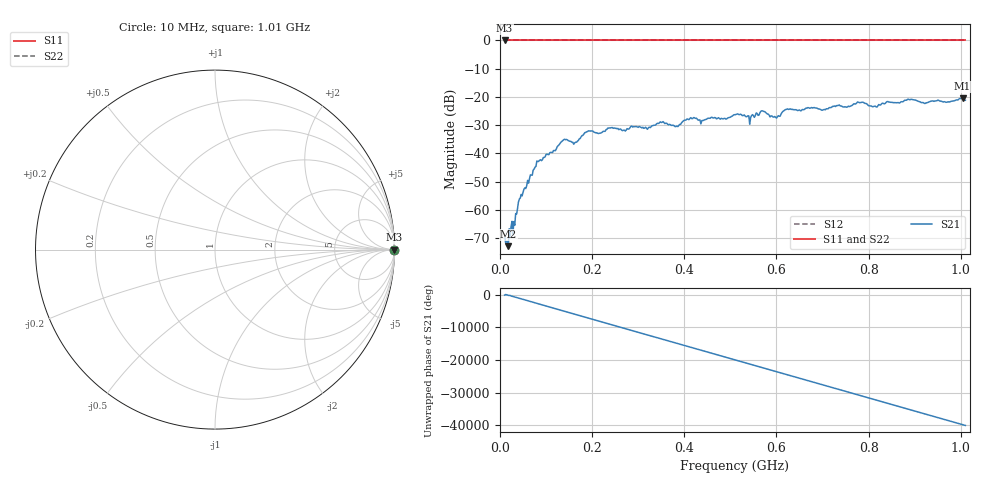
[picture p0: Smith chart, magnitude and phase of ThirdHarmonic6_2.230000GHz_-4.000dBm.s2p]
! 8/17/2025 2:31:47 AM
! C:\ANRITSUVNA\TEMP\TEMP.S2P
! CHANNEL.1
! TR.MEASUREMENT
! RAW.DATA
! RF.CORRECTION.OFF
! AVERAGING.OFF
! IF.BANDWIDTH: 5KHZ
! SWEEPTYPE:  FREQ.SWEEP(Linear)
! Reference Plane Port Info
! PORT:  PORT1  PORT2
! DISTANCE:  0  m  0  m
! TIME:  0  s  0  s
! PHASE.OFFSET:  0  deg.  0  deg.
! LOSS:  0  dB  0  dB
! REF.LOSS:  0  dB  0  dB
! REF.FREQ:  0  Hz  0  Hz
! Power Info
! POWER:  -20  dBm  -20  dBm
! EFF.POWER:  -20  dBm  -20  dBm
! SOURCE.ATTEN:  0  dB  0  dB
! TEST.ATTEN:  0  dB  0  dB
# GHZ S RI R 50.0
! FREQ.GHZ  S11RE  S11IM  S21RE  S21IM  S12RE  S12IM  S22RE  S22IM
!; PortSelection: Port_12
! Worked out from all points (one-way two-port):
!   501 points, 10 MHz to 1.01 GHz, reference 50 ohm
!   highest |S21| = -20.54 dB at 1.004 GHz (marker M1); lowest = -72.9 dB at 18 MHz (marker M2)
!   lowest |S11| = 0.0 dB at 10 MHz (marker M3)
!   |S11| at or under -10 dB: nowhere
!   |S22| runs from 0.0 to 0.0 dB; largest |S21 - S12| = 1.1
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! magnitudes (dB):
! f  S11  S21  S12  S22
! 10 MHz  0.0  -68.7  0.0  0.0
! 18 MHz  0.0  -72.9  0.0  0.0
! 32 MHz  0.0  -65.5  0.0  0.0
! 44 MHz  0.0  -55.8  0.0  0.0
! 84 MHz  0.0  -42.8  0.0  0.0
! 136 MHz  0.0  -35.5  0.0  0.0
! 164 MHz  0.0  -36.1  0.0  0.0
! 178 MHz  0.0  -33.7  0.0  0.0
! 194 MHz  0.0  -32.0  0.0  0.0
! 322 MHz  0.0  -30.9  0.0  0.0
! 344 MHz  0.0  -29.4  0.0  0.0
! 384 MHz  0.0  -30.3  0.0  0.0
! 416 MHz  0.0  -27.7  0.0  0.0
! 510 MHz  0.0  -26.3  0.0  0.0
! 540 MHz  0.0  -26.7  0.0  0.0
! 570 MHz  0.0  -25.0  0.0  0.0
! 598 MHz  0.0  -27.2  0.0  0.0
! 622 MHz  0.0  -24.4  0.0  0.0
! 678 MHz  0.0  -23.9  0.0  0.0
! 844 MHz  0.0  -21.8  0.0  0.0
! 1.004 GHz  0.0  -20.5  0.0  0.0
! 1.01 GHz  0.0  -21.2  0.0  0.0
